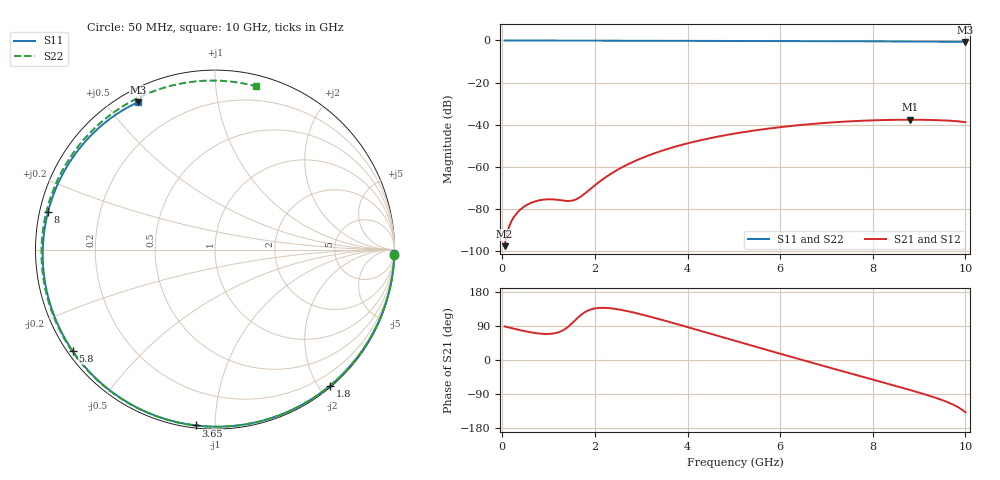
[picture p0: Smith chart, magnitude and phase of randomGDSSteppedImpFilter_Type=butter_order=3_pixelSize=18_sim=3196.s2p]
! freq	dB(S11)	phase(S11)	dB(S12)	phase(S12)
!  dB(S21)	phase(S21)	dB(S22)	phase(S22)
!S-par simulation data
#  GHz  S  DB  R 50
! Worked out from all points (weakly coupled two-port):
!   200 points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, 50 MHz to 10 GHz, reference 50 ohm
!   highest |S21| = -37.57 dB at 8.8 GHz (marker M1); lowest = -97.5 dB at 50 MHz (marker M2)
!   lowest |S11| = -0.7 dB at 10 GHz (marker M3), VSWR 26.02, Z = 2.63 + j30.3 ohm
!   |S11| at or under -10 dB: nowhere
!   |S22| runs from -0.6 to 0.0 dB; largest |S21 - S12| = 0
!   S11 on the Smith chart (normalised r, x): 50 MHz: 0, -80; 1.8 GHz: 0.02, -2.15; 3.65 GHz: 0.01, -0.90; 5.8 GHz: 0.01, -0.32; 8 GHz: 0.02, +0.11; 10 GHz: 0.05, +0.61
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0.05  -0.00 -1.4  -97.48 88.6  -97.48 88.6  -0.00 -1.7
0.4  -0.01 -11.3  -79.96 78.4  -79.96 78.4  -0.02 -13.1
0.6  -0.02 -16.9  -77.17 73.4  -77.17 73.4  -0.03 -19.6
0.85  -0.03 -23.9  -75.54 69.3  -75.54 69.3  -0.04 -27.7
1.5  -0.05 -41.8  -75.92 96.1  -75.92 96.1  -0.06 -48.2
1.75  -0.06 -48.5  -73.12 123.5  -73.12 123.5  -0.07 -55.9
1.8  -0.06 -49.8  -72.24 127.4  -72.24 127.4  -0.07 -57.4
2.15  -0.07 -59.0  -66.09 137.7  -66.09 137.7  -0.09 -68.0
2.5  -0.09 -68.0  -61.15 133.7  -61.15 133.7  -0.10 -78.3
2.9  -0.10 -78.1  -56.78 123.4  -56.78 123.4  -0.11 -89.7
3.4  -0.12 -90.3  -52.60 107.5  -52.60 107.5  -0.13 -103.6
3.65  -0.13 -96.2  -50.87 99.0  -50.87 99.0  -0.14 -110.4
4.3  -0.15 -111.3  -47.19 76.3  -47.19 76.3  -0.17 -127.6
5.05  -0.19 -128.0  -44.00 49.8  -44.00 49.8  -0.21 -147.0
5.8  -0.23 -144.4  -41.61 23.6  -41.61 23.6  -0.26 -166.1
6.7  -0.30 -163.8  -39.54 -7.5  -39.54 -7.5  -0.32 170.7
7.35  -0.35 -178.0  -38.52 -29.7  -38.52 -29.7  -0.37 153.5
8  -0.41 167.4  -37.86 -51.8  -37.86 -51.8  -0.42 135.7
8.35  -0.45 159.3  -37.66 -63.6  -37.66 -63.6  -0.44 125.7
8.8  -0.49 148.6  -37.57 -79.0  -37.57 -79.0  -0.48 112.6
9.4  -0.56 133.7  -37.77 -101.5  -37.77 -101.5  -0.51 94.6
10  -0.67 117.5  -38.75 -138.0  -38.75 -138.0  -0.56 76.1
